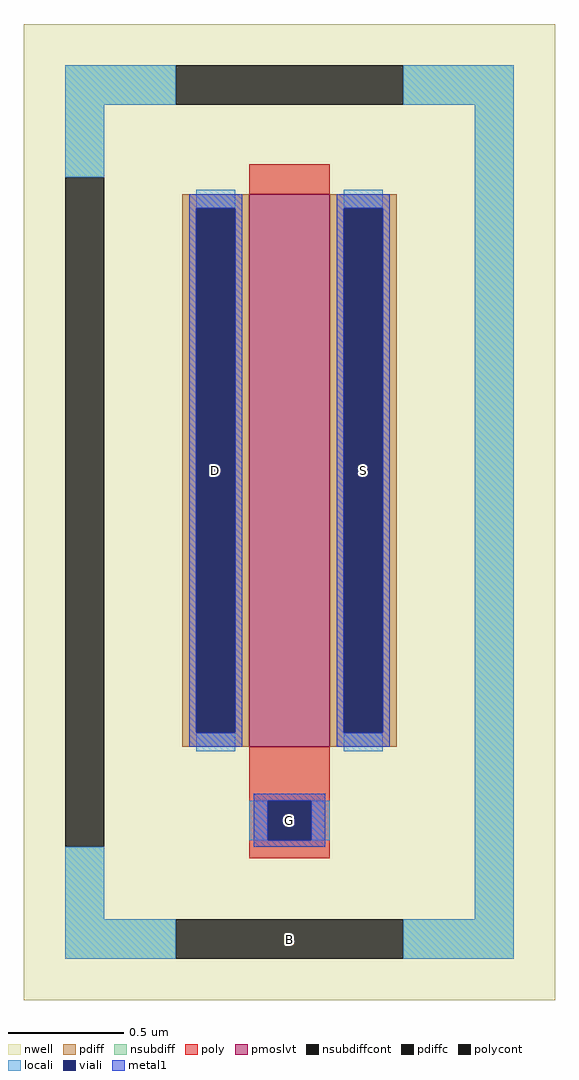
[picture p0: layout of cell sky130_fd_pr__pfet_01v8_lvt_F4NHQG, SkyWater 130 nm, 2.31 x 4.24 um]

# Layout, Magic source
magic
tech sky130A
magscale 1 2
<< nwell >>
rect -231 -424 231 424
<< pmoslvt >>
rect -35 -204 35 276
<< pdiff >>
rect -93 264 -35 276
rect -93 -192 -81 264
rect -47 -192 -35 264
rect -93 -204 -35 -192
rect 35 264 93 276
rect 35 -192 47 264
rect 81 -192 93 264
rect 35 -204 93 -192
<< pdiffc >>
rect -81 -192 -47 264
rect 47 -192 81 264
<< nsubdiff >>
rect -195 354 -99 388
rect 99 354 195 388
rect -195 291 -161 354
rect -195 -354 -161 -291
rect 161 -354 195 354
rect -195 -388 -99 -354
rect 99 -388 195 -354
<< nsubdiffcont >>
rect -99 354 99 388
rect -195 -291 -161 291
rect -99 -388 99 -354
<< poly >>
rect -35 276 35 302
rect -35 -251 35 -204
rect -35 -285 -19 -251
rect 19 -285 35 -251
rect -35 -301 35 -285
<< polycont >>
rect -19 -285 19 -251
<< locali >>
rect -195 354 -99 388
rect 99 354 195 388
rect -195 291 -161 354
rect -81 264 -47 280
rect -81 -208 -47 -192
rect 47 264 81 280
rect 47 -208 81 -192
rect -35 -285 -19 -251
rect 19 -285 35 -251
rect -195 -354 -161 -291
rect 161 -354 195 354
rect -195 -388 -99 -354
rect 99 -388 195 -354
<< viali >>
rect -81 -192 -47 264
rect 47 -192 81 264
rect -19 -285 19 -251
<< metal1 >>
rect -87 264 -41 276
rect -87 -192 -81 264
rect -47 -192 -41 264
rect -87 -204 -41 -192
rect 41 264 87 276
rect 41 -192 47 264
rect 81 -192 87 264
rect 41 -204 87 -192
rect -31 -251 31 -245
rect -31 -285 -19 -251
rect 19 -285 31 -251
rect -31 -291 31 -285
<< labels >>
rlabel nsubdiffcont 0 -371 0 -371 0 B
port 1 nsew
rlabel pdiffc -64 36 -64 36 0 D
port 2 nsew
rlabel pdiffc 64 36 64 36 0 S
port 3 nsew
rlabel polycont 0 -268 0 -268 0 G
port 4 nsew
<< properties >>
string FIXED_BBOX -178 -371 178 371
string gencell sky130_fd_pr__pfet_01v8_lvt
string library sky130
string parameters w 2.4 l 0.35 m 1 nf 1 diffcov 100 polycov 100 guard 1 glc 1 grc 0 gtc 1 gbc 1 tbcov 100 rlcov 100 topc 0 botc 1 poverlap 0 doverlap 1 lmin 0.35 wmin 0.42 class mosfet compatible {sky130_fd_pr__pfet_01v8  sky130_fd_pr__pfet_01v8_lvt sky130_fd_pr__pfet_01v8_hvt  sky130_fd_pr__pfet_g5v0d10v5} full_metal 1 conn_gates 0 viasrc 100 viadrn 100 viagate 100 viagb 0 viagr 0 viagl 0 viagt 0 doports 1
<< end >>
